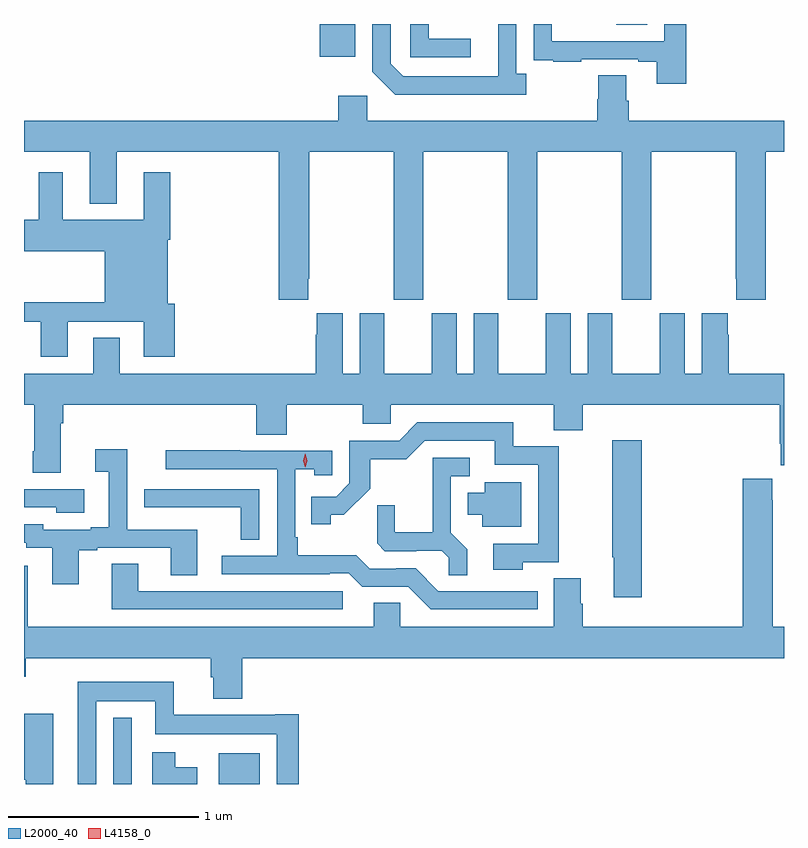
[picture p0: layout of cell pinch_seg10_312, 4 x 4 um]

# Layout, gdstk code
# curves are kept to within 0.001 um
import gdstk
lib = gdstk.Library(unit=1e-6, precision=1e-09)
def R(c, l, rs):  # rectangles x0, y0, x1, y1
    for r in rs: c.add(gdstk.rectangle(r[:2], r[2:], *l))
def P(c, l, *ps):  # polygons
    for p in ps: c.add(gdstk.Polygon(p, *l))
L2000_40 = (2000, 40)
L4158_0 = (4158, 0)

pinch_seg10_312 = lib.new_cell('pinch_seg10_312')
R(pinch_seg10_312, L2000_40, [(493.053,1283.669,493.149,1284.019), (493.607,1283.669,493.822,1283.83), (494.139,1287.497,494.326,1287.669), (495.698,1287.664,495.862,1287.669)])
P(pinch_seg10_312, L2000_40, [(494.932,1287.591),(494.712,1287.591),(494.712,1287.669),(494.616,1287.669),(494.616,1287.495),(494.932,1287.495)],
  [(495.226,1287.406),(495.174,1287.406),(495.174,1287.669),(495.078,1287.669),(495.077,1287.393),(494.577,1287.393),(494.511,1287.459),(494.511,1287.669),(494.415,1287.669),(494.415,1287.417),(494.536,1287.296),(495.226,1287.296)],
  [(496.067,1287.669),(495.951,1287.669),(495.951,1287.579),(495.36,1287.579),(495.36,1287.669),(495.264,1287.669),(495.264,1287.586),(495.265,1287.586),(495.265,1287.477),(495.367,1287.477),(495.367,1287.471),(495.515,1287.471),(495.515,1287.483),(495.815,1287.483),(495.815,1287.471),(495.911,1287.471),(495.911,1287.354),(496.067,1287.354)],
  [(494.077,1286.329),(494.082,1286.329),(494.082,1286.996),(494.527,1286.996),(494.527,1286.217),(494.682,1286.217),(494.682,1286.996),(495.127,1286.996),(495.127,1286.217),(495.282,1286.217),(495.282,1286.996),(495.727,1286.996),(495.727,1286.217),(495.882,1286.217),(495.882,1286.996),(496.327,1286.996),(496.327,1286.329),(496.331,1286.329),(496.331,1286.217),(496.487,1286.217),(496.487,1286.996),(496.582,1286.996),(496.582,1287.16),(495.764,1287.16),(495.764,1287.266),(495.751,1287.266),(495.751,1287.398),(495.604,1287.398),(495.604,1287.273),(495.599,1287.273),(495.599,1287.16),(494.388,1287.16),(494.388,1287.292),(494.237,1287.292),(494.237,1287.16),(492.582,1287.16),(492.582,1286.996),(492.929,1286.996),(492.929,1286.723),(493.069,1286.723),(493.069,1286.996),(493.922,1286.996),(493.922,1286.217),(494.077,1286.217)],
  [(492.811,1286.103),(493.211,1286.103),(493.211,1285.917),(493.376,1285.917),(493.376,1286.196),(493.339,1286.196),(493.339,1286.534),(493.352,1286.534),(493.352,1286.89),(493.211,1286.89),(493.211,1286.638),(492.787,1286.638),(492.787,1286.89),(492.659,1286.89),(492.659,1286.638),(492.582,1286.638),(492.582,1286.474),(493.007,1286.474),(493.007,1286.204),(492.582,1286.204),(492.582,1286.103),(492.671,1286.103),(492.671,1285.917),(492.811,1285.917)],
  [(494.479,1286.146),(494.348,1286.146),(494.348,1285.828),(494.26,1285.828),(494.26,1286.146),(494.123,1286.146),(494.123,1286.033),(494.117,1286.033),(494.117,1285.828),(493.087,1285.828),(493.087,1286.018),(492.947,1286.018),(492.947,1285.828),(492.582,1285.828),(492.582,1285.664),(492.635,1285.664),(492.635,1285.42),(492.628,1285.42),(492.628,1285.308),(492.775,1285.308),(492.775,1285.568),(492.788,1285.568),(492.788,1285.664),(493.805,1285.664),(493.805,1285.507),(493.965,1285.507),(493.965,1285.664),(494.365,1285.664),(494.365,1285.566),(494.511,1285.566),(494.511,1285.664),(495.371,1285.664),(495.371,1285.531),(495.524,1285.531),(495.524,1285.664),(496.559,1285.664),(496.559,1285.459),(496.565,1285.459),(496.565,1285.347),(496.582,1285.347),(496.582,1285.828),(496.292,1285.828),(496.292,1286.033),(496.285,1286.033),(496.285,1286.146),(496.148,1286.146),(496.148,1285.828),(496.06,1285.828),(496.06,1286.146),(495.929,1286.146),(495.929,1285.828),(495.679,1285.828),(495.679,1286.146),(495.548,1286.146),(495.548,1285.828),(495.46,1285.828),(495.46,1286.146),(495.329,1286.146),(495.329,1285.828),(495.079,1285.828),(495.079,1286.146),(494.948,1286.146),(494.948,1285.828),(494.86,1285.828),(494.86,1286.146),(494.729,1286.146),(494.729,1285.828),(494.479,1285.828)],
  [(495.207,1284.837),(495.397,1284.837),(495.397,1285.446),(495.158,1285.446),(495.158,1285.572),(494.652,1285.572),(494.556,1285.476),(494.295,1285.476),(494.295,1285.251),(494.226,1285.182),(494.095,1285.182),(494.095,1285.035),(494.196,1285.035),(494.196,1285.085),(494.266,1285.085),(494.404,1285.222),(494.404,1285.378),(494.593,1285.378),(494.691,1285.476),(495.059,1285.476),(495.059,1285.35),(495.288,1285.35),(495.288,1284.933),(495.051,1284.933),(495.051,1284.797),(495.207,1284.797)],
  [(495.833,1285.477),(495.679,1285.477),(495.679,1284.863),(495.686,1284.863),(495.686,1284.651),(495.833,1284.651)],
  [(492.871,1284.9),(492.967,1284.9),(492.967,1284.912),(493.355,1284.912),(493.355,1284.769),(493.495,1284.769),(493.495,1285.008),(493.125,1285.008),(493.125,1285.432),(492.957,1285.432),(492.957,1285.312),(493.028,1285.312),(493.028,1285.021),(492.932,1285.021),(492.932,1285.008),(492.684,1285.008),(492.684,1285.035),(492.582,1285.035),(492.582,1284.939),(492.594,1284.939),(492.594,1284.912),(492.731,1284.912),(492.731,1284.72),(492.871,1284.72)],
  [(495.286,1284.684),(494.763,1284.684),(494.643,1284.804),(494.542,1284.804),(494.542,1284.801),(494.403,1284.801),(494.33,1284.874),(494.023,1284.874),(494.023,1284.967),(494.01,1284.967),(494.01,1285.325),(494.109,1285.325),(494.109,1285.293),(494.205,1285.293),(494.205,1285.422),(493.721,1285.422),(493.721,1285.425),(493.329,1285.425),(493.329,1285.326),(493.914,1285.326),(493.914,1284.87),(493.623,1284.87),(493.623,1284.774),(494.192,1284.774),(494.192,1284.777),(494.292,1284.777),(494.361,1284.708),(494.604,1284.708),(494.724,1284.588),(495.286,1284.588)],
  [(494.915,1284.905),(494.829,1284.991),(494.829,1285.29),(494.929,1285.29),(494.929,1285.386),(494.732,1285.386),(494.732,1284.994),(494.534,1284.994),(494.534,1285.137),(494.44,1285.137),(494.44,1284.935),(494.481,1284.894),(494.646,1284.894),(494.646,1284.897),(494.78,1284.897),(494.817,1284.86),(494.817,1284.769),(494.915,1284.769)],
  [(493.73,1284.332),(496.582,1284.332),(496.582,1284.496),(496.524,1284.496),(496.524,1285.163),(496.519,1285.163),(496.519,1285.276),(496.364,1285.276),(496.364,1284.496),(495.524,1284.496),(495.524,1284.618),(495.511,1284.618),(495.511,1284.752),(495.371,1284.752),(495.371,1284.496),(494.562,1284.496),(494.562,1284.623),(494.423,1284.623),(494.423,1284.496),(492.601,1284.496),(492.601,1284.817),(492.582,1284.817),(492.582,1284.233),(492.59,1284.233),(492.59,1284.332),(493.565,1284.332),(493.565,1284.231),(493.577,1284.231),(493.577,1284.119),(493.73,1284.119)],
  [(495.199,1285.258),(495.008,1285.258),(495.008,1285.201),(494.918,1285.201),(494.918,1285.085),(494.993,1285.085),(494.993,1285.022),(495.199,1285.022)],
  [(492.898,1285.221),(492.582,1285.221),(492.582,1285.125),(492.753,1285.125),(492.753,1285.097),(492.898,1285.097)],
  [(493.821,1285.221),(493.215,1285.221),(493.215,1285.126),(493.327,1285.126),(493.327,1285.125),(493.723,1285.125),(493.723,1284.955),(493.821,1284.955)],
  [(494.26,1284.684),(493.183,1284.684),(493.183,1284.827),(493.043,1284.827),(493.043,1284.588),(494.26,1284.588)],
  [(492.963,1284.104),(493.272,1284.104),(493.272,1283.93),(493.911,1283.93),(493.911,1283.669),(494.027,1283.669),(494.027,1284.037),(493.904,1284.037),(493.904,1284.034),(493.37,1284.034),(493.37,1284.208),(492.866,1284.208),(492.866,1283.669),(492.963,1283.669)],
  [(492.736,1284.039),(492.582,1284.039),(492.582,1283.691),(492.59,1283.691),(492.59,1283.669),(492.736,1283.669)],
  [(493.495,1283.758),(493.378,1283.758),(493.378,1283.836),(493.256,1283.836),(493.256,1283.669),(493.495,1283.669)])
P(pinch_seg10_312, L4158_0, [(494.063,1285.335),(494.063,1285.335),(494.053,1285.371),(494.063,1285.406),(494.063,1285.407),(494.063,1285.406),(494.073,1285.371),(494.063,1285.335)])

lib.write_gds('pinch_seg10_312.gds')
